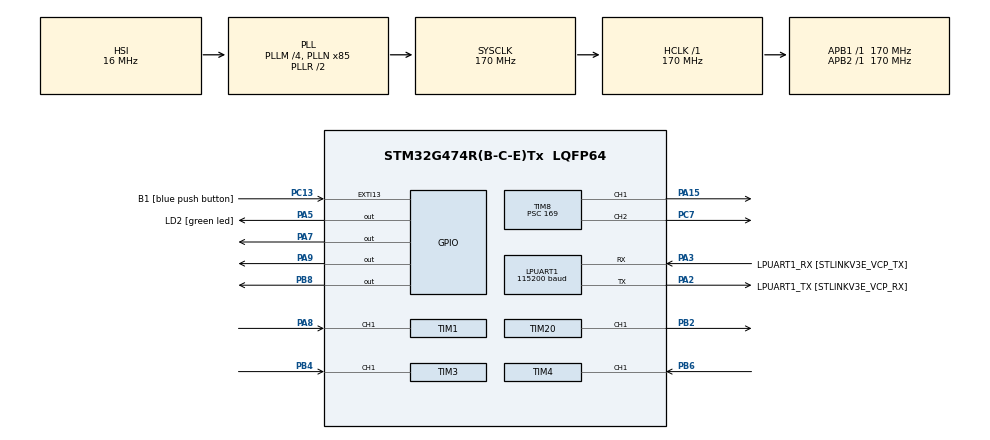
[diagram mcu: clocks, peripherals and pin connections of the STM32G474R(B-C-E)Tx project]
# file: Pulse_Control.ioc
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LPUART1.BaudRate=115200
LPUART1.WordLength=UART_WORDLENGTH_8B
Mcu.Family=STM32G4
Mcu.Name=STM32G474R(B-C-E)Tx
Mcu.Package=LQFP64
NVIC.EXTI15_10_IRQn=true\:0\:0\:false\:false\:true\:true\:true\:true
NVIC.PriorityGroup=NVIC_PRIORITYGROUP_4
PA13.GPIO_Label=T_SWDIO
PA13.Mode=Serial_Wire
PA13.Signal=SYS_JTMS-SWDIO
PA14.GPIO_Label=T_SWCLK
PA14.Mode=Serial_Wire
PA14.Signal=SYS_JTCK-SWCLK
PA15.Signal=S_TIM8_CH1
PA2.GPIO_Label=LPUART1_TX [STLINKV3E_VCP_RX]
PA2.Mode=Asynchronous
PA2.Signal=LPUART1_TX
PA3.GPIO_Label=LPUART1_RX [STLINKV3E_VCP_TX]
PA3.Mode=Asynchronous
PA3.Signal=LPUART1_RX
PA5.GPIO_Label=LD2 [green led]
PA5.Signal=GPIO_Output
PA7.Signal=GPIO_Output
PA8.Signal=S_TIM1_CH1
PA9.Signal=GPIO_Output
PB2.Signal=S_TIM20_CH1
PB3.GPIO_Label=T_SWO
PB3.Signal=SYS_JTDO-SWO
PB4.Signal=S_TIM3_CH1
PB6.Signal=S_TIM4_CH1
PB8-BOOT0.Signal=GPIO_Output
PC13.GPIO_Label=B1 [blue push button]
PC13.Signal=GPXTI13
PC14-OSC32_IN.Mode=LSE-External-Oscillator
PC14-OSC32_IN.Signal=RCC_OSC32_IN
PC15-OSC32_OUT.Mode=LSE-External-Oscillator
PC15-OSC32_OUT.Signal=RCC_OSC32_OUT
PC7.Signal=S_TIM8_CH2
PF0-OSC_IN.Mode=HSE-External-Oscillator
PF0-OSC_IN.Signal=RCC_OSC_IN
PF1-OSC_OUT.Mode=HSE-External-Oscillator
PF1-OSC_OUT.Signal=RCC_OSC_OUT
ProjectManager.HeapSize=0x200
ProjectManager.StackSize=0x400
ProjectManager.TargetToolchain=STM32CubeIDE
RCC.ADC12Freq_Value=170000000
RCC.ADC345Freq_Value=170000000
RCC.AHBFreq_Value=170000000
RCC.APB1Freq_Value=170000000
RCC.APB1TimFreq_Value=170000000
RCC.APB2Freq_Value=170000000
RCC.APB2TimFreq_Value=170000000
RCC.CortexFreq_Value=170000000
RCC.EXTERNAL_CLOCK_VALUE=12288000
RCC.HCLKFreq_Value=170000000
RCC.HSE_VALUE=24000000
RCC.HSI48_VALUE=48000000
RCC.HSI_VALUE=16000000
RCC.PLLM=RCC_PLLM_DIV4
RCC.PLLN=85
RCC.RTCClockSelection=RCC_RTCCLKSOURCE_LSE
RCC.SYSCLKFreq_VALUE=170000000
RCC.SYSCLKSource=RCC_SYSCLKSOURCE_PLLCLK
RCC.USBFreq_Value=170000000
RCC.VCOOutputFreq_Value=340000000
SH.S_TIM1_CH1.0=TIM1_CH1,PWM_Input_1
SH.S_TIM20_CH1.0=TIM20_CH1,PWM Generation1 CH1
SH.S_TIM3_CH1.0=TIM3_CH1,PWM_Input_1
SH.S_TIM4_CH1.0=TIM4_CH1,PWM_Input_1
SH.S_TIM8_CH1.0=TIM8_CH1,PWM Generation1 CH1
SH.S_TIM8_CH2.0=TIM8_CH2,PWM Generation2 CH2
TIM1.Prescaler=169
TIM20.Channel-PWM\ Generation1\ CH1=TIM_CHANNEL_1
TIM20.PeriodNoDither=999
TIM20.Prescaler=169
TIM3.Prescaler=169
TIM4.Prescaler=169
TIM8.Channel-PWM\ Generation1\ CH1=TIM_CHANNEL_1
TIM8.Channel-PWM\ Generation2\ CH2=TIM_CHANNEL_2
TIM8.PeriodNoDither=999
TIM8.Prescaler=169
TIM8.PulseNoDither_1=500
VP_SYS_VS_DBSignals.Mode=DisableDeadBatterySignals
VP_TIM1_VS_ClockSourceINT.Mode=Internal
VP_TIM20_VS_ClockSourceINT.Mode=Internal
VP_TIM3_VS_ClockSourceINT.Mode=Internal
VP_TIM4_VS_ClockSourceINT.Mode=Internal
VP_TIM8_VS_ClockSourceINT.Mode=Internal
board=NUCLEO-G474RE

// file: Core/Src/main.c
/* USER CODE BEGIN Header */
/**
  ******************************************************************************
  * @file           : main.c
  * @brief          : Main program body
  ******************************************************************************
  * @attention
  *
  * Copyright (c) 2024 STMicroelectronics.
  * All rights reserved.
  *
  * This software is licensed under terms that can be found in the LICENSE file
  * in the root directory of this software component.
  * If no LICENSE file comes with this software, it is provided AS-IS.
  *
  ******************************************************************************
  */
/* USER CODE END Header */
#include "main.h"

/* USER CODE BEGIN Includes */
#include "PWM.h"

/* USER CODE END Includes */

UART_HandleTypeDef hlpuart1;

TIM_HandleTypeDef htim1;
TIM_HandleTypeDef htim3;
TIM_HandleTypeDef htim4;
TIM_HandleTypeDef htim8;
TIM_HandleTypeDef htim20;

/* USER CODE BEGIN PV */
uint16_t FB_Read, LR_Read, BR_Read;
int Speed, Turn, Brush;
int MaxSpeed = 1000;
uint16_t freq;

PWM StepperL;
PWM StepperR;
PWM BrushMTR;
/* USER CODE END PV */

void SystemClock_Config(void);
static void MX_GPIO_Init(void);
static void MX_LPUART1_UART_Init(void);
static void MX_TIM1_Init(void);
static void MX_TIM3_Init(void);
static void MX_TIM4_Init(void);
static void MX_TIM8_Init(void);
static void MX_TIM20_Init(void);
/* USER CODE BEGIN PFP */
void ReadController();
void StpperMotorControlled();
void BrusheMotorControlled();
int mapValue(uint16_t inputValue, int16_t Min, int16_t Max);
/* USER CODE END PFP */

int main(void)
{

  /* MCU Configuration--------------------------------------------------------*/

  /* Reset of all peripherals, Initializes the Flash interface and the Systick. */
  HAL_Init();

  /* Configure the system clock */
  SystemClock_Config();

  /* Initialize all configured peripherals */
  MX_GPIO_Init();
  MX_LPUART1_UART_Init();
  MX_TIM1_Init();
  MX_TIM3_Init();
  MX_TIM4_Init();
  MX_TIM8_Init();
  MX_TIM20_Init();
  /* USER CODE BEGIN 2 */
  PWM_init(&StepperL, &htim8, TIM_CHANNEL_1);
  PWM_init(&StepperR, &htim8, TIM_CHANNEL_2);
  PWM_init(&BrushMTR, &htim20, TIM_CHANNEL_1);

  HAL_TIM_Base_Start(&htim1); //FB CH2
  HAL_TIM_Base_Start(&htim3); //LR CH4
  HAL_TIM_Base_Start(&htim4); //BR CH6

  HAL_TIM_IC_Start(&htim1, TIM_CHANNEL_1);
  HAL_TIM_IC_Start(&htim1, TIM_CHANNEL_2);
  HAL_TIM_IC_Start(&htim3, TIM_CHANNEL_1);
  HAL_TIM_IC_Start(&htim3, TIM_CHANNEL_2);
  HAL_TIM_IC_Start(&htim4, TIM_CHANNEL_1);
  HAL_TIM_IC_Start(&htim4, TIM_CHANNEL_2);

  HAL_TIM_PWM_Start(&htim8, TIM_CHANNEL_1);
  HAL_TIM_PWM_Start(&htim8, TIM_CHANNEL_2);
  HAL_TIM_PWM_Start(&htim20, TIM_CHANNEL_1);

  /* USER CODE END 2 */

  /* Infinite loop */
  while (1)
  {

    /* USER CODE BEGIN 3 */
	  ReadController();
	  StpperMotorControlled();
	  BrusheMotorControlled();
  }
  /* USER CODE END 3 */
}

void SystemClock_Config(void)
{
  RCC_OscInitTypeDef RCC_OscInitStruct = {0};
  RCC_ClkInitTypeDef RCC_ClkInitStruct = {0};

  /** Configure the main internal regulator output voltage
  */
  HAL_PWREx_ControlVoltageScaling(PWR_REGULATOR_VOLTAGE_SCALE1_BOOST);

  /** Initializes the RCC Oscillators according to the specified parameters
  * in the RCC_OscInitTypeDef structure.
  */
  RCC_OscInitStruct.OscillatorType = RCC_OSCILLATORTYPE_HSI;
  RCC_OscInitStruct.HSIState = RCC_HSI_ON;
  RCC_OscInitStruct.HSICalibrationValue = RCC_HSICALIBRATION_DEFAULT;
  RCC_OscInitStruct.PLL.PLLState = RCC_PLL_ON;
  RCC_OscInitStruct.PLL.PLLSource = RCC_PLLSOURCE_HSI;
  RCC_OscInitStruct.PLL.PLLM = RCC_PLLM_DIV4;
  RCC_OscInitStruct.PLL.PLLN = 85;
  RCC_OscInitStruct.PLL.PLLP = RCC_PLLP_DIV2;
  RCC_OscInitStruct.PLL.PLLQ = RCC_PLLQ_DIV2;
  RCC_OscInitStruct.PLL.PLLR = RCC_PLLR_DIV2;
  if (HAL_RCC_OscConfig(&RCC_OscInitStruct) != HAL_OK)
  {
    Error_Handler();
  }

  /** Initializes the CPU, AHB and APB buses clocks
  */
  RCC_ClkInitStruct.ClockType = RCC_CLOCKTYPE_HCLK|RCC_CLOCKTYPE_SYSCLK
                              |RCC_CLOCKTYPE_PCLK1|RCC_CLOCKTYPE_PCLK2;
  RCC_ClkInitStruct.SYSCLKSource = RCC_SYSCLKSOURCE_PLLCLK;
  RCC_ClkInitStruct.AHBCLKDivider = RCC_SYSCLK_DIV1;
  RCC_ClkInitStruct.APB1CLKDivider = RCC_HCLK_DIV1;
  RCC_ClkInitStruct.APB2CLKDivider = RCC_HCLK_DIV1;

  if (HAL_RCC_ClockConfig(&RCC_ClkInitStruct, FLASH_LATENCY_4) != HAL_OK)
  {
    Error_Handler();
  }
}

static void MX_LPUART1_UART_Init(void)
{

  hlpuart1.Instance = LPUART1;
  hlpuart1.Init.BaudRate = 115200;
  hlpuart1.Init.WordLength = UART_WORDLENGTH_8B;
  hlpuart1.Init.StopBits = UART_STOPBITS_1;
  hlpuart1.Init.Parity = UART_PARITY_NONE;
  hlpuart1.Init.Mode = UART_MODE_TX_RX;
  hlpuart1.Init.HwFlowCtl = UART_HWCONTROL_NONE;
  hlpuart1.Init.OneBitSampling = UART_ONE_BIT_SAMPLE_DISABLE;
  hlpuart1.Init.ClockPrescaler = UART_PRESCALER_DIV1;
  hlpuart1.AdvancedInit.AdvFeatureInit = UART_ADVFEATURE_NO_INIT;
  if (HAL_UART_Init(&hlpuart1) != HAL_OK)
  {
    Error_Handler();
  }
  if (HAL_UARTEx_SetTxFifoThreshold(&hlpuart1, UART_TXFIFO_THRESHOLD_1_8) != HAL_OK)
  {
    Error_Handler();
  }
  if (HAL_UARTEx_SetRxFifoThreshold(&hlpuart1, UART_RXFIFO_THRESHOLD_1_8) != HAL_OK)
  {
    Error_Handler();
  }
  if (HAL_UARTEx_DisableFifoMode(&hlpuart1) != HAL_OK)
  {
    Error_Handler();
  }

}

static void MX_TIM1_Init(void)
{

  TIM_ClockConfigTypeDef sClockSourceConfig = {0};
  TIM_SlaveConfigTypeDef sSlaveConfig = {0};
  TIM_IC_InitTypeDef sConfigIC = {0};
  TIM_MasterConfigTypeDef sMasterConfig = {0};

  htim1.Instance = TIM1;
  htim1.Init.Prescaler = 169;
  htim1.Init.CounterMode = TIM_COUNTERMODE_UP;
  htim1.Init.Period = 65535;
  htim1.Init.ClockDivision = TIM_CLOCKDIVISION_DIV1;
  htim1.Init.RepetitionCounter = 0;
  htim1.Init.AutoReloadPreload = TIM_AUTORELOAD_PRELOAD_DISABLE;
  if (HAL_TIM_Base_Init(&htim1) != HAL_OK)
  {
    Error_Handler();
  }
  sClockSourceConfig.ClockSource = TIM_CLOCKSOURCE_INTERNAL;
  if (HAL_TIM_ConfigClockSource(&htim1, &sClockSourceConfig) != HAL_OK)
  {
    Error_Handler();
  }
  if (HAL_TIM_IC_Init(&htim1) != HAL_OK)
  {
    Error_Handler();
  }
  sSlaveConfig.SlaveMode = TIM_SLAVEMODE_RESET;
  sSlaveConfig.InputTrigger = TIM_TS_TI1FP1;
  sSlaveConfig.TriggerPolarity = TIM_INPUTCHANNELPOLARITY_RISING;
  sSlaveConfig.TriggerPrescaler = TIM_ICPSC_DIV1;
  sSlaveConfig.TriggerFilter = 0;
  if (HAL_TIM_SlaveConfigSynchro(&htim1, &sSlaveConfig) != HAL_OK)
  {
    Error_Handler();
  }
  sConfigIC.ICPolarity = TIM_INPUTCHANNELPOLARITY_RISING;
  sConfigIC.ICSelection = TIM_ICSELECTION_DIRECTTI;
  sConfigIC.ICPrescaler = TIM_ICPSC_DIV1;
  sConfigIC.ICFilter = 0;
  if (HAL_TIM_IC_ConfigChannel(&htim1, &sConfigIC, TIM_CHANNEL_1) != HAL_OK)
  {
    Error_Handler();
  }
  sConfigIC.ICPolarity = TIM_INPUTCHANNELPOLARITY_FALLING;
  sConfigIC.ICSelection = TIM_ICSELECTION_INDIRECTTI;
  if (HAL_TIM_IC_ConfigChannel(&htim1, &sConfigIC, TIM_CHANNEL_2) != HAL_OK)
  {
    Error_Handler();
  }
  sMasterConfig.MasterOutputTrigger = TIM_TRGO_RESET;
  sMasterConfig.MasterOutputTrigger2 = TIM_TRGO2_RESET;
  sMasterConfig.MasterSlaveMode = TIM_MASTERSLAVEMODE_DISABLE;
  if (HAL_TIMEx_MasterConfigSynchronization(&htim1, &sMasterConfig) != HAL_OK)
  {
    Error_Handler();
  }

}

static void MX_TIM3_Init(void)
{

  TIM_ClockConfigTypeDef sClockSourceConfig = {0};
  TIM_SlaveConfigTypeDef sSlaveConfig = {0};
  TIM_IC_InitTypeDef sConfigIC = {0};
  TIM_MasterConfigTypeDef sMasterConfig = {0};

  htim3.Instance = TIM3;
  htim3.Init.Prescaler = 169;
  htim3.Init.CounterMode = TIM_COUNTERMODE_UP;
  htim3.Init.Period = 65535;
  htim3.Init.ClockDivision = TIM_CLOCKDIVISION_DIV1;
  htim3.Init.AutoReloadPreload = TIM_AUTORELOAD_PRELOAD_DISABLE;
  if (HAL_TIM_Base_Init(&htim3) != HAL_OK)
  {
    Error_Handler();
  }
  sClockSourceConfig.ClockSource = TIM_CLOCKSOURCE_INTERNAL;
  if (HAL_TIM_ConfigClockSource(&htim3, &sClockSourceConfig) != HAL_OK)
  {
    Error_Handler();
  }
  if (HAL_TIM_IC_Init(&htim3) != HAL_OK)
  {
    Error_Handler();
  }
  sSlaveConfig.SlaveMode = TIM_SLAVEMODE_RESET;
  sSlaveConfig.InputTrigger = TIM_TS_TI1FP1;
  sSlaveConfig.TriggerPolarity = TIM_INPUTCHANNELPOLARITY_RISING;
  sSlaveConfig.TriggerPrescaler = TIM_ICPSC_DIV1;
  sSlaveConfig.TriggerFilter = 0;
  if (HAL_TIM_SlaveConfigSynchro(&htim3, &sSlaveConfig) != HAL_OK)
  {
    Error_Handler();
  }
  sConfigIC.ICPolarity = TIM_INPUTCHANNELPOLARITY_RISING;
  sConfigIC.ICSelection = TIM_ICSELECTION_DIRECTTI;
  sConfigIC.ICPrescaler = TIM_ICPSC_DIV1;
  sConfigIC.ICFilter = 0;
  if (HAL_TIM_IC_ConfigChannel(&htim3, &sConfigIC, TIM_CHANNEL_1) != HAL_OK)
  {
    Error_Handler();
  }
  sConfigIC.ICPolarity = TIM_INPUTCHANNELPOLARITY_FALLING;
  sConfigIC.ICSelection = TIM_ICSELECTION_INDIRECTTI;
  if (HAL_TIM_IC_ConfigChannel(&htim3, &sConfigIC, TIM_CHANNEL_2) != HAL_OK)
  {
    Error_Handler();
  }
  sMasterConfig.MasterOutputTrigger = TIM_TRGO_RESET;
  sMasterConfig.MasterSlaveMode = TIM_MASTERSLAVEMODE_DISABLE;
  if (HAL_TIMEx_MasterConfigSynchronization(&htim3, &sMasterConfig) != HAL_OK)
  {
    Error_Handler();
  }

}

static void MX_TIM4_Init(void)
{

  TIM_ClockConfigTypeDef sClockSourceConfig = {0};
  TIM_SlaveConfigTypeDef sSlaveConfig = {0};
  TIM_IC_InitTypeDef sConfigIC = {0};
  TIM_MasterConfigTypeDef sMasterConfig = {0};

  htim4.Instance = TIM4;
  htim4.Init.Prescaler = 169;
  htim4.Init.CounterMode = TIM_COUNTERMODE_UP;
  htim4.Init.Period = 65535;
  htim4.Init.ClockDivision = TIM_CLOCKDIVISION_DIV1;
  htim4.Init.AutoReloadPreload = TIM_AUTORELOAD_PRELOAD_DISABLE;
  if (HAL_TIM_Base_Init(&htim4) != HAL_OK)
  {
    Error_Handler();
  }
  sClockSourceConfig.ClockSource = TIM_CLOCKSOURCE_INTERNAL;
  if (HAL_TIM_ConfigClockSource(&htim4, &sClockSourceConfig) != HAL_OK)
  {
    Error_Handler();
  }
  if (HAL_TIM_IC_Init(&htim4) != HAL_OK)
  {
    Error_Handler();
  }
  sSlaveConfig.SlaveMode = TIM_SLAVEMODE_RESET;
  sSlaveConfig.InputTrigger = TIM_TS_TI1FP1;
  sSlaveConfig.TriggerPolarity = TIM_INPUTCHANNELPOLARITY_RISING;
  sSlaveConfig.TriggerPrescaler = TIM_ICPSC_DIV1;
  sSlaveConfig.TriggerFilter = 0;
  if (HAL_TIM_SlaveConfigSynchro(&htim4, &sSlaveConfig) != HAL_OK)
  {
    Error_Handler();
  }
  sConfigIC.ICPolarity = TIM_INPUTCHANNELPOLARITY_RISING;
  sConfigIC.ICSelection = TIM_ICSELECTION_DIRECTTI;
  sConfigIC.ICPrescaler = TIM_ICPSC_DIV1;
  sConfigIC.ICFilter = 0;
  if (HAL_TIM_IC_ConfigChannel(&htim4, &sConfigIC, TIM_CHANNEL_1) != HAL_OK)
  {
    Error_Handler();
  }
  sConfigIC.ICPolarity = TIM_INPUTCHANNELPOLARITY_FALLING;
  sConfigIC.ICSelection = TIM_ICSELECTION_INDIRECTTI;
  if (HAL_TIM_IC_ConfigChannel(&htim4, &sConfigIC, TIM_CHANNEL_2) != HAL_OK)
  {
    Error_Handler();
  }
  sMasterConfig.MasterOutputTrigger = TIM_TRGO_RESET;
  sMasterConfig.MasterSlaveMode = TIM_MASTERSLAVEMODE_DISABLE;
  if (HAL_TIMEx_MasterConfigSynchronization(&htim4, &sMasterConfig) != HAL_OK)
  {
    Error_Handler();
  }

}

static void MX_TIM8_Init(void)
{

  TIM_ClockConfigTypeDef sClockSourceConfig = {0};
  TIM_MasterConfigTypeDef sMasterConfig = {0};
  TIM_OC_InitTypeDef sConfigOC = {0};
  TIM_BreakDeadTimeConfigTypeDef sBreakDeadTimeConfig = {0};

  htim8.Instance = TIM8;
  htim8.Init.Prescaler = 169;
  htim8.Init.CounterMode = TIM_COUNTERMODE_UP;
  htim8.Init.Period = 999;
  htim8.Init.ClockDivision = TIM_CLOCKDIVISION_DIV1;
  htim8.Init.RepetitionCounter = 0;
  htim8.Init.AutoReloadPreload = TIM_AUTORELOAD_PRELOAD_DISABLE;
  if (HAL_TIM_Base_Init(&htim8) != HAL_OK)
  {
    Error_Handler();
  }
  sClockSourceConfig.ClockSource = TIM_CLOCKSOURCE_INTERNAL;
  if (HAL_TIM_ConfigClockSource(&htim8, &sClockSourceConfig) != HAL_OK)
  {
    Error_Handler();
  }
  if (HAL_TIM_PWM_Init(&htim8) != HAL_OK)
  {
    Error_Handler();
  }
  sMasterConfig.MasterOutputTrigger = TIM_TRGO_RESET;
  sMasterConfig.MasterOutputTrigger2 = TIM_TRGO2_RESET;
  sMasterConfig.MasterSlaveMode = TIM_MASTERSLAVEMODE_DISABLE;
  if (HAL_TIMEx_MasterConfigSynchronization(&htim8, &sMasterConfig) != HAL_OK)
  {
    Error_Handler();
  }
  sConfigOC.OCMode = TIM_OCMODE_PWM1;
  sConfigOC.Pulse = 500;
  sConfigOC.OCPolarity = TIM_OCPOLARITY_HIGH;
  sConfigOC.OCNPolarity = TIM_OCNPOLARITY_HIGH;
  sConfigOC.OCFastMode = TIM_OCFAST_DISABLE;
  sConfigOC.OCIdleState = TIM_OCIDLESTATE_RESET;
  sConfigOC.OCNIdleState = TIM_OCNIDLESTATE_RESET;
  if (HAL_TIM_PWM_ConfigChannel(&htim8, &sConfigOC, TIM_CHANNEL_1) != HAL_OK)
  {
    Error_Handler();
  }
  sConfigOC.Pulse = 0;
  if (HAL_TIM_PWM_ConfigChannel(&htim8, &sConfigOC, TIM_CHANNEL_2) != HAL_OK)
  {
    Error_Handler();
  }
  sBreakDeadTimeConfig.OffStateRunMode = TIM_OSSR_DISABLE;
  sBreakDeadTimeConfig.OffStateIDLEMode = TIM_OSSI_DISABLE;
  sBreakDeadTimeConfig.LockLevel = TIM_LOCKLEVEL_OFF;
  sBreakDeadTimeConfig.DeadTime = 0;
  sBreakDeadTimeConfig.BreakState = TIM_BREAK_DISABLE;
  sBreakDeadTimeConfig.BreakPolarity = TIM_BREAKPOLARITY_HIGH;
  sBreakDeadTimeConfig.BreakFilter = 0;
  sBreakDeadTimeConfig.BreakAFMode = TIM_BREAK_AFMODE_INPUT;
  sBreakDeadTimeConfig.Break2State = TIM_BREAK2_DISABLE;
  sBreakDeadTimeConfig.Break2Polarity = TIM_BREAK2POLARITY_HIGH;
  sBreakDeadTimeConfig.Break2Filter = 0;
  sBreakDeadTimeConfig.Break2AFMode = TIM_BREAK_AFMODE_INPUT;
  sBreakDeadTimeConfig.AutomaticOutput = TIM_AUTOMATICOUTPUT_DISABLE;
  if (HAL_TIMEx_ConfigBreakDeadTime(&htim8, &sBreakDeadTimeConfig) != HAL_OK)
  {
    Error_Handler();
  }
  HAL_TIM_MspPostInit(&htim8);

}

static void MX_TIM20_Init(void)
{

  TIM_ClockConfigTypeDef sClockSourceConfig = {0};
  TIM_MasterConfigTypeDef sMasterConfig = {0};
  TIM_OC_InitTypeDef sConfigOC = {0};
  TIM_BreakDeadTimeConfigTypeDef sBreakDeadTimeConfig = {0};

  htim20.Instance = TIM20;
  htim20.Init.Prescaler = 169;
  htim20.Init.CounterMode = TIM_COUNTERMODE_UP;
  htim20.Init.Period = 999;
  htim20.Init.ClockDivision = TIM_CLOCKDIVISION_DIV1;
  htim20.Init.RepetitionCounter = 0;
  htim20.Init.AutoReloadPreload = TIM_AUTORELOAD_PRELOAD_DISABLE;
  if (HAL_TIM_Base_Init(&htim20) != HAL_OK)
  {
    Error_Handler();
  }
  sClockSourceConfig.ClockSource = TIM_CLOCKSOURCE_INTERNAL;
  if (HAL_TIM_ConfigClockSource(&htim20, &sClockSourceConfig) != HAL_OK)
  {
    Error_Handler();
  }
  if (HAL_TIM_PWM_Init(&htim20) != HAL_OK)
  {
    Error_Handler();
  }
  sMasterConfig.MasterOutputTrigger = TIM_TRGO_RESET;
  sMasterConfig.MasterOutputTrigger2 = TIM_TRGO2_RESET;
  sMasterConfig.MasterSlaveMode = TIM_MASTERSLAVEMODE_DISABLE;
  if (HAL_TIMEx_MasterConfigSynchronization(&htim20, &sMasterConfig) != HAL_OK)
  {
    Error_Handler();
  }
  sConfigOC.OCMode = TIM_OCMODE_PWM1;
  sConfigOC.Pulse = 0;
  sConfigOC.OCPolarity = TIM_OCPOLARITY_HIGH;
  sConfigOC.OCNPolarity = TIM_OCNPOLARITY_HIGH;
  sConfigOC.OCFastMode = TIM_OCFAST_DISABLE;
  sConfigOC.OCIdleState = TIM_OCIDLESTATE_RESET;
  sConfigOC.OCNIdleState = TIM_OCNIDLESTATE_RESET;
  if (HAL_TIM_PWM_ConfigChannel(&htim20, &sConfigOC, TIM_CHANNEL_1) != HAL_OK)
  {
    Error_Handler();
  }
  sBreakDeadTimeConfig.OffStateRunMode = TIM_OSSR_DISABLE;
  sBreakDeadTimeConfig.OffStateIDLEMode = TIM_OSSI_DISABLE;
  sBreakDeadTimeConfig.LockLevel = TIM_LOCKLEVEL_OFF;
  sBreakDeadTimeConfig.DeadTime = 0;
  sBreakDeadTimeConfig.BreakState = TIM_BREAK_DISABLE;
  sBreakDeadTimeConfig.BreakPolarity = TIM_BREAKPOLARITY_HIGH;
  sBreakDeadTimeConfig.BreakFilter = 0;
  sBreakDeadTimeConfig.BreakAFMode = TIM_BREAK_AFMODE_INPUT;
  sBreakDeadTimeConfig.Break2State = TIM_BREAK2_DISABLE;
  sBreakDeadTimeConfig.Break2Polarity = TIM_BREAK2POLARITY_HIGH;
  sBreakDeadTimeConfig.Break2Filter = 0;
  sBreakDeadTimeConfig.Break2AFMode = TIM_BREAK_AFMODE_INPUT;
  sBreakDeadTimeConfig.AutomaticOutput = TIM_AUTOMATICOUTPUT_DISABLE;
  if (HAL_TIMEx_ConfigBreakDeadTime(&htim20, &sBreakDeadTimeConfig) != HAL_OK)
  {
    Error_Handler();
  }
  HAL_TIM_MspPostInit(&htim20);

}

static void MX_GPIO_Init(void)
{
  GPIO_InitTypeDef GPIO_InitStruct = {0};

  /* GPIO Ports Clock Enable */
  __HAL_RCC_GPIOC_CLK_ENABLE();
  __HAL_RCC_GPIOF_CLK_ENABLE();
  __HAL_RCC_GPIOA_CLK_ENABLE();
  __HAL_RCC_GPIOB_CLK_ENABLE();

  /*Configure GPIO pin Output Level */
  HAL_GPIO_WritePin(GPIOA, LD2_Pin|GPIO_PIN_7|GPIO_PIN_9, GPIO_PIN_RESET);

  /*Configure GPIO pin Output Level */
  HAL_GPIO_WritePin(GPIOB, GPIO_PIN_8, GPIO_PIN_RESET);

  /*Configure GPIO pin : B1_Pin */
  GPIO_InitStruct.Pin = B1_Pin;
  GPIO_InitStruct.Mode = GPIO_MODE_IT_RISING;
  GPIO_InitStruct.Pull = GPIO_NOPULL;
  HAL_GPIO_Init(B1_GPIO_Port, &GPIO_InitStruct);

  /*Configure GPIO pins : LD2_Pin PA7 PA9 */
  GPIO_InitStruct.Pin = LD2_Pin|GPIO_PIN_7|GPIO_PIN_9;
  GPIO_InitStruct.Mode = GPIO_MODE_OUTPUT_PP;
  GPIO_InitStruct.Pull = GPIO_NOPULL;
  GPIO_InitStruct.Speed = GPIO_SPEED_FREQ_LOW;
  HAL_GPIO_Init(GPIOA, &GPIO_InitStruct);

  /*Configure GPIO pin : PB8 */
  GPIO_InitStruct.Pin = GPIO_PIN_8;
  GPIO_InitStruct.Mode = GPIO_MODE_OUTPUT_PP;
  GPIO_InitStruct.Pull = GPIO_NOPULL;
  GPIO_InitStruct.Speed = GPIO_SPEED_FREQ_LOW;
  HAL_GPIO_Init(GPIOB, &GPIO_InitStruct);

  /* EXTI interrupt init*/
  HAL_NVIC_SetPriority(EXTI15_10_IRQn, 0, 0);
  HAL_NVIC_EnableIRQ(EXTI15_10_IRQn);

}

/* USER CODE BEGIN 4 */
void StpperMotorControlled()
{
	if (Speed < -20)
	{
		freq = 1;
		HAL_GPIO_WritePin(GPIOA, GPIO_PIN_9, RESET);
		HAL_GPIO_WritePin(GPIOA, GPIO_PIN_7, SET);
		if (fabs(Speed) > 170)
		{
			PWM_write_duty(&StepperL, fabs(Speed), 50);
			PWM_write_duty(&StepperR, fabs(Speed), 50);
		}
		else
		{
			PWM_write_duty(&StepperL, 0, 50);
			PWM_write_duty(&StepperR, 0, 50);
		}
	}
	else if (Speed > 20)
	{
		freq = 2;
		HAL_GPIO_WritePin(GPIOA, GPIO_PIN_9, SET);
		HAL_GPIO_WritePin(GPIOA, GPIO_PIN_7, RESET);
		if (fabs(Speed) > 170)
		{
			PWM_write_duty(&StepperL, fabs(Speed), 50);
			PWM_write_duty(&StepperR, fabs(Speed), 50);
		}
		else
		{
			PWM_write_duty(&StepperL, 0, 50);
			PWM_write_duty(&StepperR, 0, 50);
		}
	}
	else
	{
		freq = 0;
		if (Turn < 0)
		{
			HAL_GPIO_WritePin(GPIOA, GPIO_PIN_9, RESET);
			HAL_GPIO_WritePin(GPIOA, GPIO_PIN_7, RESET);
			if (fabs(Turn) > 170)
			{
				PWM_write_duty(&StepperL, fabs(Turn), 50);
				PWM_write_duty(&StepperR, fabs(Turn), 50);
			}
			else
			{
				PWM_write_duty(&StepperL, 0, 50);
				PWM_write_duty(&StepperR, 0, 50);
			}
		}
		else if (Turn > 0)
		{
			HAL_GPIO_WritePin(GPIOA, GPIO_PIN_9, SET);
			HAL_GPIO_WritePin(GPIOA, GPIO_PIN_7, SET);
			if (fabs(Turn) > 170)
			{
				PWM_write_duty(&StepperL, fabs(Turn), 50);
				PWM_write_duty(&StepperR, fabs(Turn), 50);
			}
			else
			{
				PWM_write_duty(&StepperL, 0, 50);
				PWM_write_duty(&StepperR, 0, 50);
			}
		}
	}
}
void BrusheMotorControlled()
{
	if (Brush)
	{
		HAL_GPIO_WritePin(GPIOB, GPIO_PIN_8, RESET);
		PWM_write_duty(&BrushMTR, 2000, 100);
	}
	else
	{
		PWM_write_duty(&BrushMTR, 2000, 0);
	}
}
void ReadController()
{
	FB_Read = __HAL_TIM_GET_COMPARE(&htim1,TIM_CHANNEL_2);
	LR_Read = __HAL_TIM_GET_COMPARE(&htim3,TIM_CHANNEL_2);
	BR_Read = __HAL_TIM_GET_COMPARE(&htim4,TIM_CHANNEL_2);

	Speed = mapValue(FB_Read, -MaxSpeed, MaxSpeed);
	Turn  = mapValue(LR_Read, -MaxSpeed, MaxSpeed);
	Brush = mapValue(BR_Read, 0, 2);
}
int mapValue(uint16_t inputValue, int16_t Min, int16_t Max)
{
    // Map from 1000-2010 to Min-Max
    return (int16_t)(((int32_t)(inputValue - 1000) * (Max - Min)) / 1010 + Min);
}
/* USER CODE END 4 */

void Error_Handler(void)
{
  __disable_irq();
  while (1)
  {
  }
}
